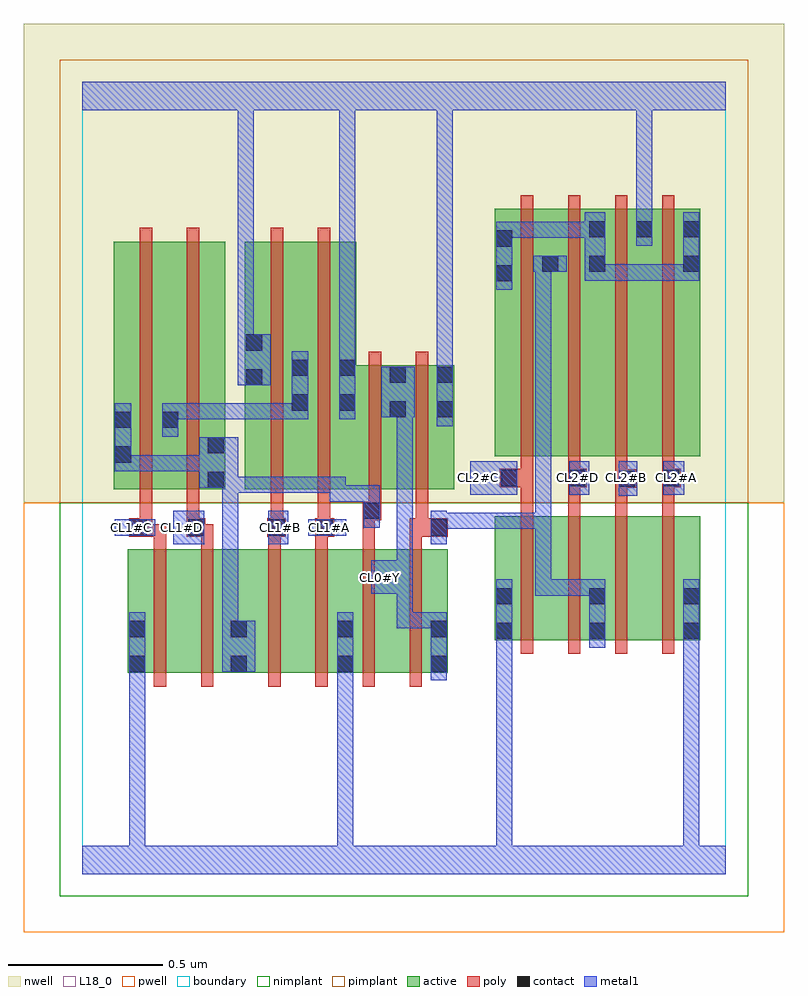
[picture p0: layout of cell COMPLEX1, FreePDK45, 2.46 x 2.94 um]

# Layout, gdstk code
import gdstk
lib = gdstk.Library(unit=1e-6, precision=1e-09)
def R(c, l, rs):  # rectangles x0, y0, x1, y1
    for r in rs: c.add(gdstk.rectangle(r[:2], r[2:], *l))
def A(c, l, x, y, w, h, nx, ny, dx, dy):  # array of equal rectangles
    R(c, l, [(x+i*dx, y+j*dy, x+i*dx+w, y+j*dy+h) for i in range(nx) for j in range(ny)])
active = (1, 0)
pwell = (2, 0)
nwell = (3, 0)
nimplant = (4, 0)
pimplant = (5, 0)
poly = (9, 0)
contact = (10, 0)
metal1 = (11, 0)
L18_0 = (18, 0)
boundary = (235, 0)

complex1 = lib.new_cell('COMPLEX1')
A(complex1, active, 1.482, 1.35, 0.212, 0.8, 3, 1, 0.152, 0)
R(complex1, active, [(0.148,0.65,0.208,1.05), (0.148,0.65,0.328,1.05), (0.328,0.65,0.536,1.05), (0.476,0.65,0.536,0.822), (0.476,0.65,0.698,1.05), (0.698,0.65,0.88,1.05), (0.82,0.65,0.88,0.822), (0.82,0.65,1.002,1.05), (1.002,0.65,1.182,1.05), (1.122,0.65,1.182,1.05), (1.334,0.756,1.394,1.156), (1.334,0.756,1.514,1.156), (1.514,0.756,1.694,1.156), (1.634,0.756,1.818,1.156), (1.634,0.756,1.694,0.928), (1.818,0.756,1.998,1.156), (1.938,0.756,1.998,1.156), (0.102,1.244,0.314,2.044), (0.102,1.244,0.162,2.044), (0.254,1.244,0.462,2.044), (0.254,1.244,0.314,2.044), (0.402,1.244,0.462,2.044), (0.526,1.244,0.734,2.044), (0.674,1.244,0.886,2.044), (0.674,1.244,0.734,2.044), (0.826,1.244,1.05,1.644), (0.826,1.244,0.886,1.666), (0.99,1.244,1.05,1.644), (0.99,1.244,1.202,1.644), (1.142,1.244,1.202,1.644), (1.334,1.35,1.542,2.15), (1.334,1.35,1.394,2.15), (1.938,1.35,1.998,2.114), (0.526,1.452,0.586,2.044), (1.482,1.686,1.542,2.044), (1.634,1.686,1.694,2.114), (1.786,1.686,1.846,2.15)])
R(complex1, pwell, [(-0.188,-0.188,2.268,1.2)])
R(complex1, nwell, [(-0.188,1.2,2.268,2.748)])
R(complex1, nimplant, [(-0.072,-0.072,2.152,1.2)])
R(complex1, pimplant, [(-0.072,1.2,2.152,2.632)])
A(complex1, poly, 0.602, 0.606, 0.04, 0.488, 4, 1, 0.152, 0)
A(complex1, poly, 1.418, 0.712, 0.04, 0.488, 4, 1, 0.152, 0)
A(complex1, poly, 1.418, 1.306, 0.04, 0.888, 4, 1, 0.152, 0)
R(complex1, poly, [(0.232,0.606,0.272,1.094), (0.384,0.606,0.424,1.094), (0.232,1.054,0.272,1.13), (0.384,1.054,0.424,1.13), (0.602,1.054,0.642,1.13), (0.754,1.054,0.794,1.13), (0.906,1.054,0.946,1.184), (1.058,1.054,1.098,1.13), (0.152,1.09,0.226,1.15), (0.186,1.09,0.226,1.13), (0.186,1.09,0.272,1.13), (0.338,1.09,0.398,1.15), (0.358,1.09,0.398,1.13), (0.358,1.09,0.424,1.13), (0.598,1.09,0.658,1.15), (0.754,1.09,0.814,1.15), (1.058,1.09,1.182,1.15), (0.186,1.11,0.226,1.24), (0.338,1.11,0.378,1.24), (0.61,1.11,0.65,1.15), (0.61,1.11,0.65,1.15), (0.61,1.11,0.65,1.24), (0.762,1.11,0.802,1.15), (0.762,1.11,0.802,1.15), (0.762,1.11,0.802,1.24), (1.078,1.11,1.118,1.15), (1.078,1.11,1.118,1.15), (1.078,1.11,1.118,1.24), (0.906,1.144,0.946,1.184), (0.906,1.144,0.946,1.184), (0.906,1.144,0.966,1.204), (1.418,1.16,1.458,1.29), (1.57,1.16,1.61,1.29), (1.722,1.16,1.762,1.288), (1.874,1.16,1.914,1.29), (0.926,1.164,0.966,1.24), (0.186,1.2,0.226,2.088), (0.338,1.2,0.378,2.088), (0.61,1.2,0.65,2.088), (0.762,1.2,0.802,2.088), (0.926,1.2,0.966,1.688), (1.078,1.2,1.118,1.688), (1.722,1.248,1.79,1.308), (1.35,1.25,1.458,1.31), (1.418,1.25,1.458,1.29), (1.418,1.25,1.458,1.29), (1.57,1.25,1.63,1.31), (1.874,1.25,1.914,1.29), (1.874,1.25,1.914,1.29), (1.874,1.25,1.934,1.31), (1.722,1.268,1.762,1.308), (1.722,1.268,1.762,1.308), (1.722,1.268,1.762,1.346), (1.418,1.27,1.458,1.346), (1.57,1.27,1.61,1.346), (1.57,1.27,1.61,1.31), (1.57,1.27,1.61,1.31), (1.874,1.27,1.914,1.346)])
A(complex1, contact, 1.638, 2.058, 0.052, 0.052, 3, 1, 0.152, 0)
R(complex1, contact, [(0.152,0.654,0.204,0.706), (0.48,0.654,0.532,0.706), (0.824,0.654,0.876,0.706), (1.126,0.654,1.178,0.706), (1.338,0.76,1.39,0.812), (1.638,0.76,1.69,0.812), (1.942,0.76,1.994,0.812), (0.152,0.766,0.204,0.818), (0.48,0.766,0.532,0.818), (0.824,0.766,0.876,0.818), (1.126,0.766,1.178,0.818), (1.338,0.872,1.39,0.924), (1.638,0.872,1.69,0.924), (1.942,0.872,1.994,0.924), (0.156,1.094,0.208,1.146), (0.342,1.094,0.394,1.146), (0.602,1.094,0.654,1.146), (0.758,1.094,0.81,1.146), (1.126,1.094,1.178,1.146), (0.91,1.148,0.962,1.2), (0.406,1.248,0.458,1.3), (1.734,1.252,1.786,1.304), (1.354,1.254,1.406,1.306), (1.574,1.254,1.626,1.306), (1.878,1.254,1.93,1.306), (0.106,1.33,0.158,1.382), (0.406,1.36,0.458,1.412), (0.106,1.442,0.158,1.494), (0.258,1.442,0.31,1.494), (0.994,1.476,1.046,1.528), (1.146,1.476,1.198,1.528), (0.678,1.498,0.73,1.55), (0.83,1.498,0.882,1.55), (0.53,1.58,0.582,1.632), (0.994,1.588,1.046,1.64), (1.146,1.588,1.198,1.64), (0.678,1.61,0.73,1.662), (0.83,1.61,0.882,1.662), (0.53,1.692,0.582,1.744), (1.338,1.916,1.39,1.968), (1.486,1.946,1.538,1.998), (1.638,1.946,1.69,1.998), (1.942,1.946,1.994,1.998), (1.338,2.028,1.39,2.08)])
R(complex1, metal1, [(0,0,2.08,0.092), (0.152,0.04,0.204,0.092), (0.152,0.04,0.204,0.092), (0.152,0.04,0.204,0.092), (0.152,0.04,0.204,0.092), (0.152,0.04,0.204,0.092), (0.152,0.04,0.204,0.092), (0.152,0.04,0.204,0.092), (0.152,0.04,0.204,0.092), (0.152,0.04,0.204,0.092), (0.152,0.04,0.204,0.092), (0.152,0.04,0.204,0.678), (0.824,0.04,0.876,0.092), (0.824,0.04,0.876,0.092), (0.824,0.04,0.876,0.092), (0.824,0.04,0.876,0.092), (0.824,0.04,0.876,0.092), (0.824,0.04,0.876,0.092), (0.824,0.04,0.876,0.092), (0.824,0.04,0.876,0.092), (0.824,0.04,0.876,0.092), (0.824,0.04,0.876,0.092), (0.824,0.04,0.876,0.092), (0.824,0.04,0.876,0.092), (0.824,0.04,0.876,0.678), (1.338,0.04,1.39,0.092), (1.338,0.04,1.39,0.092), (1.338,0.04,1.39,0.092), (1.338,0.04,1.39,0.092), (1.338,0.04,1.39,0.092), (1.338,0.04,1.39,0.092), (1.338,0.04,1.39,0.092), (1.338,0.04,1.39,0.092), (1.338,0.04,1.39,0.092), (1.338,0.04,1.39,0.092), (1.338,0.04,1.39,0.092), (1.338,0.04,1.39,0.092), (1.338,0.04,1.39,0.784), (1.942,0.04,1.994,0.092), (1.942,0.04,1.994,0.092), (1.942,0.04,1.994,0.092), (1.942,0.04,1.994,0.092), (1.942,0.04,1.994,0.092), (1.942,0.04,1.994,0.092), (1.942,0.04,1.994,0.092), (1.942,0.04,1.994,0.092), (1.942,0.04,1.994,0.092), (1.942,0.04,1.994,0.092), (1.942,0.04,1.994,0.092), (1.942,0.04,1.994,0.092), (1.942,0.04,1.994,0.784), (0.152,0.626,0.204,0.678), (0.152,0.626,0.204,0.678), (0.152,0.626,0.204,0.846), (0.824,0.626,0.876,0.846), (1.126,0.626,1.178,0.846), (0.452,0.654,0.56,0.818), (1.338,0.732,1.39,0.952), (1.638,0.732,1.69,0.952), (1.942,0.732,1.994,0.952), (0.452,0.766,0.504,0.818), (0.452,0.766,0.504,0.818), (0.452,0.766,0.504,1.284), (1.016,0.794,1.068,0.846), (1.016,0.794,1.072,0.846), (1.016,0.794,1.068,0.958), (1.02,0.794,1.072,0.846), (1.02,0.794,1.178,0.846), (1.464,0.9,1.516,0.952), (1.464,0.9,1.516,0.952), (1.464,0.9,1.516,0.952), (1.464,0.9,1.69,0.952), (1.464,0.9,1.516,1.168), (0.934,0.906,1.068,1.014), (1.016,0.962,1.068,1.528), (0.294,1.066,0.394,1.174), (0.602,1.066,0.666,1.174), (1.126,1.066,1.178,1.174), (0.106,1.094,0.236,1.146), (0.73,1.094,0.854,1.146), (1.126,1.116,1.178,1.168), (1.126,1.116,1.178,1.168), (1.126,1.116,1.4,1.168), (1.348,1.116,1.4,1.168), (1.348,1.116,1.4,1.168), (1.348,1.116,1.4,1.168), (1.348,1.116,1.516,1.168), (1.464,1.116,1.516,1.168), (1.464,1.116,1.516,1.168), (1.464,1.116,1.516,1.168), (1.464,1.116,1.516,1.998), (0.91,1.12,0.962,1.256), (0.8,1.204,0.852,1.256), (0.8,1.204,0.852,1.256), (0.8,1.204,0.962,1.256), (0.8,1.204,0.852,1.284), (1.734,1.222,1.794,1.334), (1.254,1.226,1.406,1.334), (1.574,1.226,1.638,1.334), (1.878,1.226,1.946,1.334), (0.452,1.232,0.504,1.284), (0.452,1.232,0.504,1.284), (0.452,1.232,0.504,1.284), (0.452,1.232,0.672,1.284), (0.452,1.232,0.504,1.3), (0.62,1.232,0.672,1.284), (0.62,1.232,0.742,1.284), (0.69,1.232,0.742,1.284), (0.69,1.232,0.852,1.284), (0.378,1.248,0.504,1.412), (0.106,1.302,0.158,1.354), (0.106,1.302,0.158,1.354), (0.106,1.302,0.158,1.522), (0.106,1.302,0.32,1.354), (0.268,1.302,0.32,1.354), (0.268,1.302,0.32,1.354), (0.268,1.302,0.32,1.354), (0.268,1.302,0.43,1.354), (0.258,1.414,0.31,1.522), (1.146,1.448,1.198,1.668), (0.258,1.47,0.31,1.522), (0.258,1.47,0.31,1.522), (0.258,1.47,0.474,1.522), (0.422,1.47,0.474,1.522), (0.422,1.47,0.62,1.522), (0.568,1.47,0.62,1.522), (0.568,1.47,0.62,1.522), (0.568,1.47,0.62,1.522), (0.568,1.47,0.62,1.522), (0.568,1.47,0.62,1.522), (0.568,1.47,0.73,1.522), (0.678,1.47,0.73,1.69), (0.83,1.47,0.882,1.69), (0.966,1.476,1.074,1.64), (1.016,1.476,1.068,1.528), (1.016,1.476,1.068,1.528), (0.502,1.58,0.61,1.744), (1.146,1.616,1.198,1.668), (1.146,1.616,1.198,1.668), (1.146,1.616,1.198,1.668), (1.146,1.616,1.198,1.668), (1.146,1.616,1.198,1.668), (1.146,1.616,1.198,1.668), (1.146,1.616,1.198,2.52), (0.83,1.638,0.882,1.69), (0.83,1.638,0.882,1.69), (0.83,1.638,0.882,1.69), (0.83,1.638,0.882,1.69), (0.83,1.638,0.882,1.69), (0.83,1.638,0.882,1.69), (0.83,1.638,0.882,1.69), (0.83,1.638,0.882,1.69), (0.83,1.638,0.882,2.52), (0.502,1.692,0.554,1.744), (0.502,1.692,0.554,1.744), (0.502,1.692,0.554,1.744), (0.502,1.692,0.554,1.744), (0.502,1.692,0.554,1.744), (0.502,1.692,0.554,1.744), (0.502,1.692,0.554,2.52), (1.338,1.888,1.39,2.108), (1.624,1.918,1.69,2.138), (1.638,1.918,1.69,1.97), (1.638,1.918,1.69,1.97), (1.638,1.918,1.82,1.97), (1.768,1.918,1.82,1.97), (1.768,1.918,1.82,1.97), (1.768,1.918,1.82,1.97), (1.768,1.918,1.994,1.97), (1.942,1.918,1.994,1.97), (1.942,1.918,1.994,1.97), (1.942,1.918,1.994,2.138), (1.458,1.946,1.566,1.998), (1.79,2.03,1.842,2.138), (1.338,2.056,1.39,2.108), (1.338,2.056,1.39,2.108), (1.338,2.056,1.516,2.108), (1.464,2.056,1.516,2.108), (1.464,2.056,1.676,2.108), (1.624,2.056,1.676,2.108), (1.624,2.056,1.676,2.108), (1.79,2.086,1.842,2.138), (1.79,2.086,1.842,2.138), (1.79,2.086,1.842,2.138), (1.79,2.086,1.842,2.138), (1.79,2.086,1.842,2.138), (1.79,2.086,1.842,2.138), (1.79,2.086,1.842,2.52), (0,2.468,2.08,2.56), (0.502,2.468,0.554,2.52), (0.502,2.468,0.554,2.52), (1.146,2.468,1.198,2.52), (1.146,2.468,1.198,2.52), (1.146,2.468,1.198,2.52), (1.146,2.468,1.198,2.52), (1.146,2.468,1.198,2.52), (1.146,2.468,1.198,2.52), (1.146,2.468,1.198,2.52), (1.146,2.468,1.198,2.52), (1.146,2.468,1.198,2.52), (1.146,2.468,1.198,2.52), (1.79,2.468,1.842,2.52), (1.79,2.468,1.842,2.52)])
A(complex1, L18_0, 1.574, 1.254, 0.052, 0.052, 3, 1, 0.16, 0)
R(complex1, L18_0, [(0,0,2.08,0.092), (0.152,0.04,0.204,0.092), (0.152,0.04,0.204,0.092), (0.152,0.04,0.204,0.092), (0.152,0.04,0.204,0.092), (0.152,0.04,0.204,0.092), (0.152,0.04,0.204,0.092), (0.152,0.04,0.204,0.092), (0.152,0.04,0.204,0.092), (0.152,0.04,0.204,0.092), (0.152,0.04,0.204,0.092), (0.152,0.04,0.204,0.678), (0.824,0.04,0.876,0.092), (0.824,0.04,0.876,0.092), (0.824,0.04,0.876,0.092), (0.824,0.04,0.876,0.092), (0.824,0.04,0.876,0.092), (0.824,0.04,0.876,0.092), (0.824,0.04,0.876,0.092), (0.824,0.04,0.876,0.092), (0.824,0.04,0.876,0.092), (0.824,0.04,0.876,0.092), (0.824,0.04,0.876,0.092), (0.824,0.04,0.876,0.092), (0.824,0.04,0.876,0.678), (1.338,0.04,1.39,0.092), (1.338,0.04,1.39,0.092), (1.338,0.04,1.39,0.092), (1.338,0.04,1.39,0.092), (1.338,0.04,1.39,0.092), (1.338,0.04,1.39,0.092), (1.338,0.04,1.39,0.092), (1.338,0.04,1.39,0.092), (1.338,0.04,1.39,0.092), (1.338,0.04,1.39,0.092), (1.338,0.04,1.39,0.092), (1.338,0.04,1.39,0.092), (1.338,0.04,1.39,0.784), (1.942,0.04,1.994,0.092), (1.942,0.04,1.994,0.092), (1.942,0.04,1.994,0.092), (1.942,0.04,1.994,0.092), (1.942,0.04,1.994,0.092), (1.942,0.04,1.994,0.092), (1.942,0.04,1.994,0.092), (1.942,0.04,1.994,0.092), (1.942,0.04,1.994,0.092), (1.942,0.04,1.994,0.092), (1.942,0.04,1.994,0.092), (1.942,0.04,1.994,0.092), (1.942,0.04,1.994,0.784), (0.152,0.626,0.204,0.678), (0.152,0.626,0.204,0.678), (0.152,0.626,0.204,0.846), (0.824,0.626,0.876,0.846), (1.126,0.626,1.178,0.846), (1.338,0.732,1.39,0.952), (1.942,0.732,1.994,0.952), (1.016,0.794,1.068,0.846), (1.016,0.794,1.068,0.958), (1.016,0.794,1.072,0.846), (1.02,0.794,1.072,0.846), (1.02,0.794,1.178,0.846), (0.934,0.906,1.068,1.014), (0.934,0.934,0.986,0.986), (1.016,0.962,1.068,1.528), (0.294,1.066,0.394,1.174), (0.602,1.066,0.666,1.174), (0.106,1.094,0.236,1.146), (0.134,1.094,0.186,1.146), (0.294,1.094,0.346,1.146), (0.614,1.094,0.666,1.146), (0.73,1.094,0.854,1.146), (0.774,1.094,0.826,1.146), (1.734,1.222,1.794,1.334), (1.254,1.226,1.406,1.334), (1.574,1.226,1.638,1.334), (1.878,1.226,1.946,1.334), (1.254,1.254,1.306,1.306), (1.146,1.448,1.198,1.668), (0.83,1.47,0.882,1.69), (0.966,1.476,1.074,1.64), (1.016,1.476,1.068,1.528), (1.016,1.476,1.068,1.528), (0.502,1.58,0.61,1.744), (1.146,1.616,1.198,1.668), (1.146,1.616,1.198,1.668), (1.146,1.616,1.198,1.668), (1.146,1.616,1.198,1.668), (1.146,1.616,1.198,1.668), (1.146,1.616,1.198,1.668), (1.146,1.616,1.198,2.52), (0.83,1.638,0.882,1.69), (0.83,1.638,0.882,1.69), (0.83,1.638,0.882,1.69), (0.83,1.638,0.882,1.69), (0.83,1.638,0.882,1.69), (0.83,1.638,0.882,1.69), (0.83,1.638,0.882,1.69), (0.83,1.638,0.882,1.69), (0.83,1.638,0.882,2.52), (0.502,1.692,0.554,1.744), (0.502,1.692,0.554,1.744), (0.502,1.692,0.554,1.744), (0.502,1.692,0.554,1.744), (0.502,1.692,0.554,1.744), (0.502,1.692,0.554,1.744), (0.502,1.692,0.554,2.52), (1.79,2.03,1.842,2.138), (1.79,2.086,1.842,2.138), (1.79,2.086,1.842,2.138), (1.79,2.086,1.842,2.138), (1.79,2.086,1.842,2.138), (1.79,2.086,1.842,2.138), (1.79,2.086,1.842,2.138), (1.79,2.086,1.842,2.52), (0,2.468,2.08,2.56), (0.502,2.468,0.554,2.52), (0.502,2.468,0.554,2.52), (1.146,2.468,1.198,2.52), (1.146,2.468,1.198,2.52), (1.146,2.468,1.198,2.52), (1.146,2.468,1.198,2.52), (1.146,2.468,1.198,2.52), (1.146,2.468,1.198,2.52), (1.146,2.468,1.198,2.52), (1.146,2.468,1.198,2.52), (1.146,2.468,1.198,2.52), (1.146,2.468,1.198,2.52), (1.79,2.468,1.842,2.52), (1.79,2.468,1.842,2.52)])
R(complex1, boundary, [(0,0,2.08,2.56)])
complex1.add(gdstk.Label('CL0#Y', (0.96,0.96), layer=11, texttype=0))
complex1.add(gdstk.Label('CL1#A', (0.8,1.12), layer=11, texttype=0))
complex1.add(gdstk.Label('CL1#B', (0.64,1.12), layer=11, texttype=0))
complex1.add(gdstk.Label('CL1#C', (0.16,1.12), layer=11, texttype=0))
complex1.add(gdstk.Label('CL1#D', (0.32,1.12), layer=11, texttype=0))
complex1.add(gdstk.Label('CL2#A', (1.92,1.28), layer=11, texttype=0))
complex1.add(gdstk.Label('CL2#B', (1.76,1.28), layer=11, texttype=0))
complex1.add(gdstk.Label('CL2#C', (1.28,1.28), layer=11, texttype=0))
complex1.add(gdstk.Label('CL2#D', (1.6,1.28), layer=11, texttype=0))

lib.write_gds('COMPLEX1.gds')
